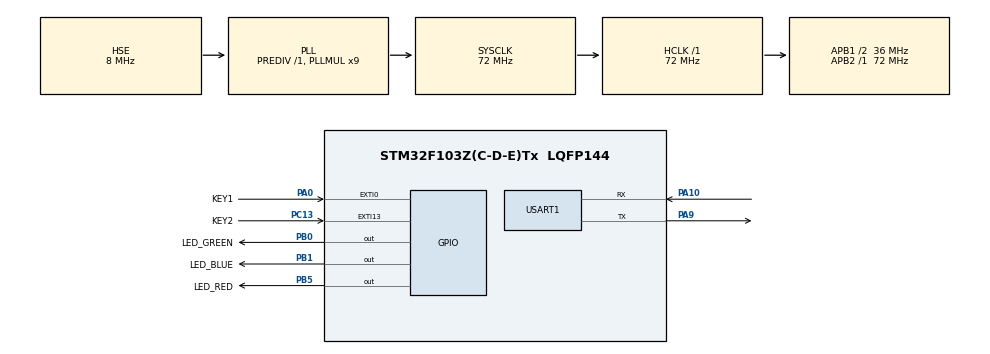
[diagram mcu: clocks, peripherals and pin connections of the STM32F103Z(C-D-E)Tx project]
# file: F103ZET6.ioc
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FREERTOS.Tasks01=defaultTask,0,128,StartDefaultTask,Default,NULL
FREERTOS.configCHECK_FOR_STACK_OVERFLOW=1
FREERTOS.configGENERATE_RUN_TIME_STATS=0
FREERTOS.configLIBRARY_MAX_SYSCALL_INTERRUPT_PRIORITY=1
FREERTOS.configTOTAL_HEAP_SIZE=10240
Mcu.Family=STM32F1
Mcu.Name=STM32F103Z(C-D-E)Tx
Mcu.Package=LQFP144
NVIC.PriorityGroup=NVIC_PRIORITYGROUP_4
NVIC.TIM6_IRQn=true\:1\:0\:true\:false\:true\:true
OSC_IN.Mode=HSE-External-Oscillator
OSC_IN.Signal=RCC_OSC_IN
OSC_OUT.Mode=HSE-External-Oscillator
OSC_OUT.Signal=RCC_OSC_OUT
PA0-WKUP.GPIO_Label=KEY1
PA0-WKUP.GPIO_ModeDefaultEXTI=GPIO_MODE_IT_FALLING
PA0-WKUP.Signal=GPXTI0
PA10.Mode=Asynchronous
PA10.Signal=USART1_RX
PA13.Mode=Serial_Wire
PA13.Signal=SYS_JTMS-SWDIO
PA14.Mode=Serial_Wire
PA14.Signal=SYS_JTCK-SWCLK
PA9.Mode=Asynchronous
PA9.Signal=USART1_TX
PB0.GPIO_Label=LED_GREEN
PB0.GPIO_ModeDefaultOutputPP=GPIO_MODE_OUTPUT_PP
PB0.GPIO_Speed=GPIO_SPEED_FREQ_HIGH
PB0.PinState=GPIO_PIN_SET
PB0.Signal=GPIO_Output
PB1.GPIO_Label=LED_BLUE
PB1.GPIO_ModeDefaultOutputPP=GPIO_MODE_OUTPUT_PP
PB1.GPIO_Speed=GPIO_SPEED_FREQ_HIGH
PB1.PinState=GPIO_PIN_SET
PB1.Signal=GPIO_Output
PB5.GPIO_Label=LED_RED
PB5.GPIO_ModeDefaultOutputPP=GPIO_MODE_OUTPUT_PP
PB5.GPIO_Speed=GPIO_SPEED_FREQ_HIGH
PB5.PinState=GPIO_PIN_SET
PB5.Signal=GPIO_Output
PC13-TAMPER-RTC.GPIO_Label=KEY2
PC13-TAMPER-RTC.GPIO_ModeDefaultEXTI=GPIO_MODE_IT_FALLING
PC13-TAMPER-RTC.Signal=GPXTI13
ProjectManager.HeapSize=0x800
ProjectManager.StackSize=0x1000
ProjectManager.TargetToolchain=MDK-ARM V5
RCC.AHBFreq_Value=72000000
RCC.APB1CLKDivider=RCC_HCLK_DIV2
RCC.APB1Freq_Value=36000000
RCC.APB1TimFreq_Value=72000000
RCC.APB2Freq_Value=72000000
RCC.APB2TimFreq_Value=72000000
RCC.HCLKFreq_Value=72000000
RCC.PLLMUL=RCC_PLL_MUL9
RCC.PLLSourceVirtual=RCC_PLLSOURCE_HSE
RCC.SYSCLKFreq_VALUE=72000000
RCC.SYSCLKSource=RCC_SYSCLKSOURCE_PLLCLK
RCC.USBFreq_Value=72000000
TIM6.Period=100
TIM6.Prescaler=71
TIM6.TIM_MasterOutputTrigger=TIM_TRGO_UPDATE
USART1.VirtualMode=VM_ASYNC
VP_FREERTOS_VS_ENABLE.Mode=Enabled
VP_TIM6_VS_ClockSourceINT.Mode=Enable_Timer
board=F103ZET6

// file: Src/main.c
/**
  ******************************************************************************
  * File Name          : main.c
  * Description        : Main program body
  ******************************************************************************
  *
  * Copyright (c) 2017 STMicroelectronics International N.V.
  * All rights reserved.
  *
  * Redistribution and use in source and binary forms, with or without
  * modification, are permitted, provided that the following conditions are met:
  *
  * 1. Redistribution of source code must retain the above copyright notice,
  *    this list of conditions and the following disclaimer.
  * 2. Redistributions in binary form must reproduce the above copyright notice,
  *    this list of conditions and the following disclaimer in the documentation
  *    and/or other materials provided with the distribution.
  * 3. Neither the name of STMicroelectronics nor the names of other
  *    contributors to this software may be used to endorse or promote products
  *    derived from this software without specific written permission.
  * 4. This software, including modifications and/or derivative works of this
  *    software, must execute solely and exclusively on microcontroller or
  *    microprocessor devices manufactured by or for STMicroelectronics.
  * 5. Redistribution and use of this software other than as permitted under
  *    this license is void and will automatically terminate your rights under
  *    this license.
  *
  * THIS SOFTWARE IS PROVIDED BY STMICROELECTRONICS AND CONTRIBUTORS "AS IS"
  * AND ANY EXPRESS, IMPLIED OR STATUTORY WARRANTIES, INCLUDING, BUT NOT
  * LIMITED TO, THE IMPLIED WARRANTIES OF MERCHANTABILITY, FITNESS FOR A
  * PARTICULAR PURPOSE AND NON-INFRINGEMENT OF THIRD PARTY INTELLECTUAL PROPERTY
  * RIGHTS ARE DISCLAIMED TO THE FULLEST EXTENT PERMITTED BY LAW. IN NO EVENT
  * SHALL STMICROELECTRONICS OR CONTRIBUTORS BE LIABLE FOR ANY DIRECT, INDIRECT,
  * INCIDENTAL, SPECIAL, EXEMPLARY, OR CONSEQUENTIAL DAMAGES (INCLUDING, BUT NOT
  * LIMITED TO, PROCUREMENT OF SUBSTITUTE GOODS OR SERVICES; LOSS OF USE, DATA,
  * OR PROFITS; OR BUSINESS INTERRUPTION) HOWEVER CAUSED AND ON ANY THEORY OF
  * LIABILITY, WHETHER IN CONTRACT, STRICT LIABILITY, OR TORT (INCLUDING
  * NEGLIGENCE OR OTHERWISE) ARISING IN ANY WAY OUT OF THE USE OF THIS SOFTWARE,
  * EVEN IF ADVISED OF THE POSSIBILITY OF SUCH DAMAGE.
  *
  ******************************************************************************
  */
#include "main.h"
#include "stm32f1xx_hal.h"
#include "cmsis_os.h"
#include "tim.h"
#include "usart.h"
#include "gpio.h"

/* USER CODE BEGIN Includes */
#include "../Own/Rtos.h"
/* USER CODE END Includes */

/* USER CODE BEGIN PV */
/* Private variables ---------------------------------------------------------*/
 uint8_t Usart1_Buffer;
 uint8_t Key_Number;
 uint32_t ulHighFrequencyTimerTicks;
TaskHandle_t xHandler_LED1=NULL;
TaskHandle_t xHandler_LED2=NULL;
TaskHandle_t xHandler_Key1=NULL;
TaskHandle_t xHandler_Key2=NULL;
/* USER CODE END PV */

void SystemClock_Config(void);
void Error_Handler(void);
void MX_FREERTOS_Init(void);

/* USER CODE BEGIN PFP */
/* Private function prototypes -----------------------------------------------*/

/* USER CODE END PFP */

int main(void)
{

  /* MCU Configuration----------------------------------------------------------*/

  /* Reset of all peripherals, Initializes the Flash interface and the Systick. */
  HAL_Init();

  /* Configure the system clock */
  SystemClock_Config();

  /* Initialize all configured peripherals */
  MX_GPIO_Init();
  MX_USART1_UART_Init();
  MX_TIM6_Init();

  /* USER CODE BEGIN 2 */
      HAL_UART_Receive_IT(&huart1,&Usart1_Buffer,1);
    HAL_TIM_Base_Start_IT(&htim6);

    mTaskCreate();
  /* USER CODE END 2 */

  /* Call init function for freertos objects (in freertos.c) */
  MX_FREERTOS_Init();

  /* Start scheduler */
  osKernelStart();

  /* We should never get here as control is now taken by the scheduler */

  /* Infinite loop */
  while (1)
  {

  /* USER CODE BEGIN 3 */
    printf("ERROR!");
      HAL_Delay(1000);

  }
  /* USER CODE END 3 */

}

/** System Clock Configuration
*/
void SystemClock_Config(void)
{

  RCC_OscInitTypeDef RCC_OscInitStruct;
  RCC_ClkInitTypeDef RCC_ClkInitStruct;

    /**Initializes the CPU, AHB and APB busses clocks
    */
  RCC_OscInitStruct.OscillatorType = RCC_OSCILLATORTYPE_HSE;
  RCC_OscInitStruct.HSEState = RCC_HSE_ON;
  RCC_OscInitStruct.HSEPredivValue = RCC_HSE_PREDIV_DIV1;
  RCC_OscInitStruct.HSIState = RCC_HSI_ON;
  RCC_OscInitStruct.PLL.PLLState = RCC_PLL_ON;
  RCC_OscInitStruct.PLL.PLLSource = RCC_PLLSOURCE_HSE;
  RCC_OscInitStruct.PLL.PLLMUL = RCC_PLL_MUL9;
  if (HAL_RCC_OscConfig(&RCC_OscInitStruct) != HAL_OK)
  {
    Error_Handler();
  }

    /**Initializes the CPU, AHB and APB busses clocks
    */
  RCC_ClkInitStruct.ClockType = RCC_CLOCKTYPE_HCLK|RCC_CLOCKTYPE_SYSCLK
                              |RCC_CLOCKTYPE_PCLK1|RCC_CLOCKTYPE_PCLK2;
  RCC_ClkInitStruct.SYSCLKSource = RCC_SYSCLKSOURCE_PLLCLK;
  RCC_ClkInitStruct.AHBCLKDivider = RCC_SYSCLK_DIV1;
  RCC_ClkInitStruct.APB1CLKDivider = RCC_HCLK_DIV2;
  RCC_ClkInitStruct.APB2CLKDivider = RCC_HCLK_DIV1;

  if (HAL_RCC_ClockConfig(&RCC_ClkInitStruct, FLASH_LATENCY_2) != HAL_OK)
  {
    Error_Handler();
  }

    /**Configure the Systick interrupt time
    */
  HAL_SYSTICK_Config(HAL_RCC_GetHCLKFreq()/1000);

    /**Configure the Systick
    */
  HAL_SYSTICK_CLKSourceConfig(SYSTICK_CLKSOURCE_HCLK);

  /* SysTick_IRQn interrupt configuration */
  HAL_NVIC_SetPriority(SysTick_IRQn, 15, 0);
}

/* USER CODE BEGIN 4 */
void HAL_UART_RxCpltCallback(UART_HandleTypeDef *UartHandle)
{
  HAL_UART_Transmit(&huart1,&Usart1_Buffer,1,0);
  HAL_UART_Receive_IT(&huart1,&Usart1_Buffer,1);
}
void HAL_TIM_PeriodElapsedCallback(TIM_HandleTypeDef *htim)
{
    if(__HAL_TIM_GET_IT_SOURCE(&htim6,TIM_IT_UPDATE)!=RESET)
  {
    ulHighFrequencyTimerTicks++;
    __HAL_TIM_CLEAR_IT(&htim6, TIM_IT_UPDATE);
  }
}

#ifdef __cplusplus
 extern "C" {
#endif
 int fputc(int ch, FILE *f)
{
          HAL_UART_Transmit(&huart1, (uint8_t *)&ch, 1, 0xffff);
          return ch;
 }

 int fgetc(FILE * f)
{
          uint8_t ch = 0;
          HAL_UART_Receive(&huart1,&ch, 1, 0xffff);
					return ch;
 }
#ifdef __cplusplus
}
#endif
/* USER CODE END 4 */

void Error_Handler(void)
{
  while(1)
  {
  }
}

/************************ (C) COPYRIGHT STMicroelectronics *****END OF FILE****/

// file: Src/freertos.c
/**
  ******************************************************************************
  * File Name          : freertos.c
  * Description        : Code for freertos applications
  ******************************************************************************
  *
  * Copyright (c) 2017 STMicroelectronics International N.V.
  * All rights reserved.
  *
  * Redistribution and use in source and binary forms, with or without
  * modification, are permitted, provided that the following conditions are met:
  *
  * 1. Redistribution of source code must retain the above copyright notice,
  *    this list of conditions and the following disclaimer.
  * 2. Redistributions in binary form must reproduce the above copyright notice,
  *    this list of conditions and the following disclaimer in the documentation
  *    and/or other materials provided with the distribution.
  * 3. Neither the name of STMicroelectronics nor the names of other
  *    contributors to this software may be used to endorse or promote products
  *    derived from this software without specific written permission.
  * 4. This software, including modifications and/or derivative works of this
  *    software, must execute solely and exclusively on microcontroller or
  *    microprocessor devices manufactured by or for STMicroelectronics.
  * 5. Redistribution and use of this software other than as permitted under
  *    this license is void and will automatically terminate your rights under
  *    this license.
  *
  * THIS SOFTWARE IS PROVIDED BY STMICROELECTRONICS AND CONTRIBUTORS "AS IS"
  * AND ANY EXPRESS, IMPLIED OR STATUTORY WARRANTIES, INCLUDING, BUT NOT
  * LIMITED TO, THE IMPLIED WARRANTIES OF MERCHANTABILITY, FITNESS FOR A
  * PARTICULAR PURPOSE AND NON-INFRINGEMENT OF THIRD PARTY INTELLECTUAL PROPERTY
  * RIGHTS ARE DISCLAIMED TO THE FULLEST EXTENT PERMITTED BY LAW. IN NO EVENT
  * SHALL STMICROELECTRONICS OR CONTRIBUTORS BE LIABLE FOR ANY DIRECT, INDIRECT,
  * INCIDENTAL, SPECIAL, EXEMPLARY, OR CONSEQUENTIAL DAMAGES (INCLUDING, BUT NOT
  * LIMITED TO, PROCUREMENT OF SUBSTITUTE GOODS OR SERVICES; LOSS OF USE, DATA,
  * OR PROFITS; OR BUSINESS INTERRUPTION) HOWEVER CAUSED AND ON ANY THEORY OF
  * LIABILITY, WHETHER IN CONTRACT, STRICT LIABILITY, OR TORT (INCLUDING
  * NEGLIGENCE OR OTHERWISE) ARISING IN ANY WAY OUT OF THE USE OF THIS SOFTWARE,
  * EVEN IF ADVISED OF THE POSSIBILITY OF SUCH DAMAGE.
  *
  ******************************************************************************
  */

#include "FreeRTOS.h"
#include "task.h"
#include "cmsis_os.h"

/* USER CODE BEGIN Includes */
#include "Rtos.h"
/* USER CODE END Includes */

osThreadId defaultTaskHandle;

void StartDefaultTask(void const * argument);

void MX_FREERTOS_Init(void); /* (MISRA C 2004 rule 8.1) */

/* Hook prototypes */
void vApplicationStackOverflowHook(xTaskHandle xTask, signed char *pcTaskName);

/* USER CODE BEGIN 4 */
__weak void vApplicationStackOverflowHook(xTaskHandle xTask, signed char *pcTaskName)
{
   /* Run time stack overflow checking is performed if
   configCHECK_FOR_STACK_OVERFLOW is defined to 1 or 2. This hook function is
   called if a stack overflow is detected. */
    printf("����ջ���-������%s",pcTaskName);
}
/* USER CODE END 4 */

/* Init FreeRTOS */

void MX_FREERTOS_Init(void) {

  /* Create the thread(s) */
  /* definition and creation of defaultTask */
  osThreadDef(defaultTask, StartDefaultTask, osPriorityNormal, 0, 128);
  defaultTaskHandle = osThreadCreate(osThread(defaultTask), NULL);

}

/* StartDefaultTask function */
void StartDefaultTask(void const * argument)
{

  for(;;)
  {
    osDelay(1);
  }
}

/************************ (C) COPYRIGHT STMicroelectronics *****END OF FILE****/
